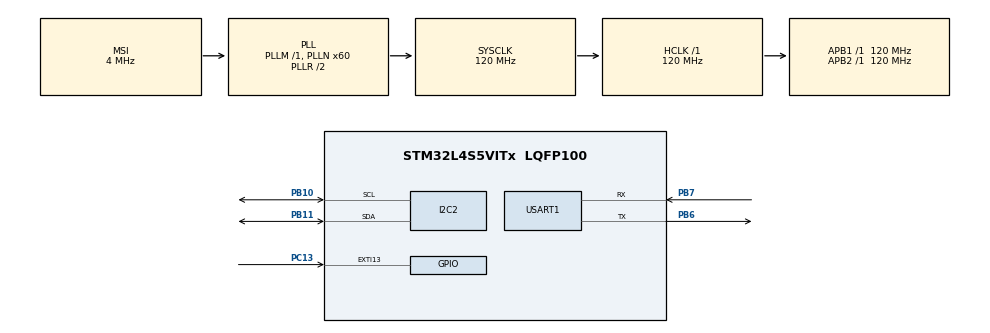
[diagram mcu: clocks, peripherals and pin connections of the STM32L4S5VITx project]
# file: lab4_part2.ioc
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FREERTOS.Mutexes01=curSensorMutex,Dynamic,NULL
FREERTOS.Tasks01=taskButton,0,128,StartButtonTask,Default,NULL,Dynamic,NULL,NULL;taskSensorRead,1,256,StartSensorRead,Default,NULL,Dynamic,NULL,NULL;taskSerialWrite,2,256,StartSerialWrite,Default,NULL,Dynamic,NULL,NULL
FREERTOS.configENABLE_FPU=1
I2C2.Timing=0x307075B1
Mcu.Family=STM32L4
Mcu.Name=STM32L4S5VITx
Mcu.Package=LQFP100
NVIC.EXTI15_10_IRQn=true\:5\:0\:false\:false\:true\:true\:true\:true\:true
NVIC.PriorityGroup=NVIC_PRIORITYGROUP_4
NVIC.TIM1_TRG_COM_TIM17_IRQn=true\:15\:0\:false\:false\:true\:false\:false\:true\:true
NVIC.TimeBase=TIM1_TRG_COM_TIM17_IRQn
NVIC.TimeBaseIP=TIM17
PA13\ (JTMS/SWDIO).Mode=Trace_Asynchronous_SW
PA13\ (JTMS/SWDIO).Signal=SYS_JTMS-SWDIO
PA14\ (JTCK/SWCLK).Mode=Trace_Asynchronous_SW
PA14\ (JTCK/SWCLK).Signal=SYS_JTCK-SWCLK
PB10.Mode=I2C
PB10.Signal=I2C2_SCL
PB11.Mode=I2C
PB11.Signal=I2C2_SDA
PB3\ (JTDO/TRACESWO).Mode=Trace_Asynchronous_SW
PB3\ (JTDO/TRACESWO).Signal=SYS_JTDO-SWO
PB6.Mode=Asynchronous
PB6.Signal=USART1_TX
PB7.Mode=Asynchronous
PB7.Signal=USART1_RX
PC13.Signal=GPXTI13
ProjectManager.HeapSize=0x200
ProjectManager.StackSize=0x400
ProjectManager.TargetToolchain=STM32CubeIDE
RCC.ADCFreq_Value=48000000
RCC.AHBFreq_Value=120000000
RCC.APB1Freq_Value=120000000
RCC.APB1TimFreq_Value=120000000
RCC.APB2Freq_Value=120000000
RCC.APB2TimFreq_Value=120000000
RCC.CortexFreq_Value=120000000
RCC.HCLKFreq_Value=120000000
RCC.HSE_VALUE=8000000
RCC.HSI48_VALUE=48000000
RCC.HSI_VALUE=16000000
RCC.LSE_VALUE=32768
RCC.MSI_VALUE=4000000
RCC.PLLN=60
RCC.PLLSAI1N=24
RCC.SYSCLKFreq_VALUE=120000000
RCC.SYSCLKSource=RCC_SYSCLKSOURCE_PLLCLK
RCC.USBFreq_Value=48000000
RCC.VCOOutputFreq_Value=240000000
USART1.VirtualMode-Asynchronous=VM_ASYNC
VP_FREERTOS_VS_CMSIS_V1.Mode=CMSIS_V1
VP_SYS_VS_tim17.Mode=TIM17
board=B-L4S5I-IOT01A

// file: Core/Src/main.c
/* USER CODE BEGIN Header */
/**
  ******************************************************************************
  * @file           : main.c
  * @brief          : Main program body
  ******************************************************************************
  * @attention
  *
  * Copyright (c) 2022 STMicroelectronics.
  * All rights reserved.
  *
  * This software is licensed under terms that can be found in the LICENSE file
  * in the root directory of this software component.
  * If no LICENSE file comes with this software, it is provided AS-IS.
  *
  ******************************************************************************
  */
/* USER CODE END Header */
#include "main.h"
#include "cmsis_os.h"

/* USER CODE BEGIN Includes */
#include "stm32l4s5i_iot01.h"
#include "stm32l4s5i_iot01_tsensor.h"
#include "stm32l4s5i_iot01_psensor.h"
#include "stm32l4s5i_iot01_hsensor.h"
#include "stm32l4s5i_iot01_magneto.h"
/* USER CODE END Includes */

/* USER CODE BEGIN PTD */
union sensor_data {
	float rd0;
	int16_t rd1[3];
};

typedef struct {
	int sensor_type;
	union sensor_data data;
} sensor_reading;
/* USER CODE END PTD */

/* USER CODE BEGIN PD */
#define BUTTON_PRESS_SIGNAL 0x00000001
#define ITM_Port32(n) (*((volatile unsigned long *)(0xE0000000+4*n)))
/* USER CODE END PD */

 I2C_HandleTypeDef hi2c2;

UART_HandleTypeDef huart1;

osThreadId taskButtonHandle;
osThreadId taskSensorReadHandle;
osThreadId taskSerialWriteHandle;
osMutexId curSensorMutexHandle;
/* USER CODE BEGIN PV */
int cur_sensor = 0;

osMailQDef (sensorQ, 3, sensor_reading);
osMailQId sensorQ;
/* USER CODE END PV */

void SystemClock_Config(void);
static void MX_GPIO_Init(void);
static void MX_I2C2_Init(void);
static void MX_USART1_UART_Init(void);
void StartButtonTask(void const * argument);
void StartSensorRead(void const * argument);
void StartSerialWrite(void const * argument);

int main(void)
{

  /* MCU Configuration--------------------------------------------------------*/

  /* Reset of all peripherals, Initializes the Flash interface and the Systick. */
  HAL_Init();

  /* Configure the system clock */
  SystemClock_Config();

  /* Initialize all configured peripherals */
  MX_GPIO_Init();
  MX_I2C2_Init();
  MX_USART1_UART_Init();
  /* USER CODE BEGIN 2 */
  cur_sensor = 0;
  char uart_buffer[100];
    memset(uart_buffer, 0, 100);

    uint32_t temp_status = BSP_TSENSOR_Init();

    if (temp_status == 0) {
  	  strcpy(uart_buffer, "The temperature sensor is successfully initialised.\r\n");
    } else {
  	  strcpy(uart_buffer, "Initialisation for the temperature sensor failed.\r\n");
    }
    HAL_UART_Transmit(&huart1, (uint8_t*) uart_buffer, 100, 20);

    uint32_t humid_status = BSP_HSENSOR_Init();
    memset(uart_buffer, 0, 100);
    if (humid_status == 0) {
  	  strcpy(uart_buffer, "The humidity sensor is successfully initialised.\r\n");
    } else {
  	  strcpy(uart_buffer, "Initialisation for the humidity sensor failed.\r\n");
    }
    HAL_UART_Transmit(&huart1, (uint8_t*) uart_buffer, 100, 20);

    uint32_t pres_status = BSP_PSENSOR_Init();
    memset(uart_buffer, 0, 100);
    if (pres_status == 0) {
  	  strcpy(uart_buffer, "The pressure sensor is successfully initialised.\r\n");
    } else {
  	  strcpy(uart_buffer, "Initialisation for the pressure sensor failed.\r\n");
    }
    HAL_UART_Transmit(&huart1, (uint8_t*) uart_buffer, 100, 20);

    MAGNETO_StatusTypeDef mag_status = BSP_MAGNETO_Init();
    memset(uart_buffer, 0, 100);
    if (mag_status == MAGNETO_OK) {
  	  strcpy(uart_buffer, "The magneto sensor is successfully initialised.\r\n");
    } else {
  	  strcpy(uart_buffer, "Initialisation for the magneto sensor failed.\r\n");
    }
    HAL_UART_Transmit(&huart1, (uint8_t*) uart_buffer, 100, 20);
  /* USER CODE END 2 */

  /* Create the mutex(es) */
  /* definition and creation of curSensorMutex */
  osMutexDef(curSensorMutex);
  curSensorMutexHandle = osMutexCreate(osMutex(curSensorMutex));

  /* USER CODE BEGIN RTOS_QUEUES */
  /* add queues, ... */
  osMailQDef(sensorQ, 2, sensor_reading);
  sensorQ = osMailCreate(osMailQ(sensorQ), NULL);
  /* USER CODE END RTOS_QUEUES */

  /* Create the thread(s) */
  /* definition and creation of taskButton */
  osThreadDef(taskButton, StartButtonTask, osPriorityNormal, 0, 128);
  taskButtonHandle = osThreadCreate(osThread(taskButton), NULL);

  /* definition and creation of taskSensorRead */
  osThreadDef(taskSensorRead, StartSensorRead, osPriorityAboveNormal, 0, 128);
  taskSensorReadHandle = osThreadCreate(osThread(taskSensorRead), NULL);

  /* definition and creation of taskSerialWrite */
  osThreadDef(taskSerialWrite, StartSerialWrite, osPriorityHigh, 0, 256);
  taskSerialWriteHandle = osThreadCreate(osThread(taskSerialWrite), NULL);

  /* Start scheduler */
  osKernelStart();

  /* We should never get here as control is now taken by the scheduler */
  /* Infinite loop */
  while (1)
  {

  }
}

void SystemClock_Config(void)
{
  RCC_OscInitTypeDef RCC_OscInitStruct = {0};
  RCC_ClkInitTypeDef RCC_ClkInitStruct = {0};

  /** Configure the main internal regulator output voltage
  */
  if (HAL_PWREx_ControlVoltageScaling(PWR_REGULATOR_VOLTAGE_SCALE1_BOOST) != HAL_OK)
  {
    Error_Handler();
  }

  /** Initializes the RCC Oscillators according to the specified parameters
  * in the RCC_OscInitTypeDef structure.
  */
  RCC_OscInitStruct.OscillatorType = RCC_OSCILLATORTYPE_MSI;
  RCC_OscInitStruct.MSIState = RCC_MSI_ON;
  RCC_OscInitStruct.MSICalibrationValue = 0;
  RCC_OscInitStruct.MSIClockRange = RCC_MSIRANGE_6;
  RCC_OscInitStruct.PLL.PLLState = RCC_PLL_ON;
  RCC_OscInitStruct.PLL.PLLSource = RCC_PLLSOURCE_MSI;
  RCC_OscInitStruct.PLL.PLLM = 1;
  RCC_OscInitStruct.PLL.PLLN = 60;
  RCC_OscInitStruct.PLL.PLLP = RCC_PLLP_DIV2;
  RCC_OscInitStruct.PLL.PLLQ = RCC_PLLQ_DIV2;
  RCC_OscInitStruct.PLL.PLLR = RCC_PLLR_DIV2;
  if (HAL_RCC_OscConfig(&RCC_OscInitStruct) != HAL_OK)
  {
    Error_Handler();
  }

  /** Initializes the CPU, AHB and APB buses clocks
  */
  RCC_ClkInitStruct.ClockType = RCC_CLOCKTYPE_HCLK|RCC_CLOCKTYPE_SYSCLK
                              |RCC_CLOCKTYPE_PCLK1|RCC_CLOCKTYPE_PCLK2;
  RCC_ClkInitStruct.SYSCLKSource = RCC_SYSCLKSOURCE_PLLCLK;
  RCC_ClkInitStruct.AHBCLKDivider = RCC_SYSCLK_DIV1;
  RCC_ClkInitStruct.APB1CLKDivider = RCC_HCLK_DIV1;
  RCC_ClkInitStruct.APB2CLKDivider = RCC_HCLK_DIV1;

  if (HAL_RCC_ClockConfig(&RCC_ClkInitStruct, FLASH_LATENCY_5) != HAL_OK)
  {
    Error_Handler();
  }
}

static void MX_I2C2_Init(void)
{

  hi2c2.Instance = I2C2;
  hi2c2.Init.Timing = 0x307075B1;
  hi2c2.Init.OwnAddress1 = 0;
  hi2c2.Init.AddressingMode = I2C_ADDRESSINGMODE_7BIT;
  hi2c2.Init.DualAddressMode = I2C_DUALADDRESS_DISABLE;
  hi2c2.Init.OwnAddress2 = 0;
  hi2c2.Init.OwnAddress2Masks = I2C_OA2_NOMASK;
  hi2c2.Init.GeneralCallMode = I2C_GENERALCALL_DISABLE;
  hi2c2.Init.NoStretchMode = I2C_NOSTRETCH_DISABLE;
  if (HAL_I2C_Init(&hi2c2) != HAL_OK)
  {
    Error_Handler();
  }

  /** Configure Analogue filter
  */
  if (HAL_I2CEx_ConfigAnalogFilter(&hi2c2, I2C_ANALOGFILTER_ENABLE) != HAL_OK)
  {
    Error_Handler();
  }

  /** Configure Digital filter
  */
  if (HAL_I2CEx_ConfigDigitalFilter(&hi2c2, 0) != HAL_OK)
  {
    Error_Handler();
  }

}

static void MX_USART1_UART_Init(void)
{

  huart1.Instance = USART1;
  huart1.Init.BaudRate = 115200;
  huart1.Init.WordLength = UART_WORDLENGTH_8B;
  huart1.Init.StopBits = UART_STOPBITS_1;
  huart1.Init.Parity = UART_PARITY_NONE;
  huart1.Init.Mode = UART_MODE_TX_RX;
  huart1.Init.HwFlowCtl = UART_HWCONTROL_NONE;
  huart1.Init.OverSampling = UART_OVERSAMPLING_16;
  huart1.Init.OneBitSampling = UART_ONE_BIT_SAMPLE_DISABLE;
  huart1.Init.ClockPrescaler = UART_PRESCALER_DIV1;
  huart1.AdvancedInit.AdvFeatureInit = UART_ADVFEATURE_NO_INIT;
  if (HAL_UART_Init(&huart1) != HAL_OK)
  {
    Error_Handler();
  }
  if (HAL_UARTEx_SetTxFifoThreshold(&huart1, UART_TXFIFO_THRESHOLD_1_8) != HAL_OK)
  {
    Error_Handler();
  }
  if (HAL_UARTEx_SetRxFifoThreshold(&huart1, UART_RXFIFO_THRESHOLD_1_8) != HAL_OK)
  {
    Error_Handler();
  }
  if (HAL_UARTEx_DisableFifoMode(&huart1) != HAL_OK)
  {
    Error_Handler();
  }

}

static void MX_GPIO_Init(void)
{
  GPIO_InitTypeDef GPIO_InitStruct = {0};

  /* GPIO Ports Clock Enable */
  __HAL_RCC_GPIOC_CLK_ENABLE();
  __HAL_RCC_GPIOB_CLK_ENABLE();
  __HAL_RCC_GPIOA_CLK_ENABLE();

  /*Configure GPIO pin : PC13 */
  GPIO_InitStruct.Pin = GPIO_PIN_13;
  GPIO_InitStruct.Mode = GPIO_MODE_IT_RISING;
  GPIO_InitStruct.Pull = GPIO_NOPULL;
  HAL_GPIO_Init(GPIOC, &GPIO_InitStruct);

  /* EXTI interrupt init*/
  HAL_NVIC_SetPriority(EXTI15_10_IRQn, 5, 0);
  HAL_NVIC_EnableIRQ(EXTI15_10_IRQn);

}

/* USER CODE BEGIN 4 */
void HAL_GPIO_EXTI_Callback(uint16_t GPIO_Pin) {
	if (GPIO_Pin == GPIO_PIN_13) {
		// set signal if button is pressed
		osSignalSet(taskButtonHandle, BUTTON_PRESS_SIGNAL);
	}
}
/* USER CODE END 4 */

void StartButtonTask(void const * argument)
{
  /* USER CODE BEGIN 5 */
  /* Infinite loop */
  for(;;)
  {
	  osDelay(100);
	  osEvent event = osSignalWait(BUTTON_PRESS_SIGNAL, osWaitForever);
	  if (event.status == osEventSignal) {
		  // button is pressed, change sensor
		  osStatus m_status = osMutexWait(curSensorMutexHandle, osWaitForever);
		  if (m_status == osOK){
			  cur_sensor++;
			  if (cur_sensor >= 4) {
				  cur_sensor = 0;
			  }

		  }
		  osMutexRelease(curSensorMutexHandle);
	  }
  }
  /* USER CODE END 5 */
}

void StartSensorRead(void const * argument)
{
  /* USER CODE BEGIN StartSensorRead */
	sensor_reading *reading_ptr;
	osStatus m_status;
  /* Infinite loop */
  for(;;)
  {
	  osDelay(100);

	  reading_ptr = osMailAlloc(sensorQ, osWaitForever);
	  ITM_Port32(0) = (uint32_t) reading_ptr;
	  if (reading_ptr != NULL) {
		  memset(reading_ptr, 0, sizeof(sensor_reading));
		  m_status = osMutexWait(curSensorMutexHandle, 50);
		  if (m_status == osOK) {
			  reading_ptr->sensor_type = (int)cur_sensor;

			  switch (reading_ptr->sensor_type) {
			  case 0: {
				  // temp
				  reading_ptr->data.rd0 = BSP_TSENSOR_ReadTemp();
			  } break;

			  case 1: {
				  // humidity
				  reading_ptr->data.rd0 = BSP_HSENSOR_ReadHumidity();
			  } break;

			  case 2: {
				  // pressure
				  reading_ptr->data.rd0 = BSP_PSENSOR_ReadPressure();
			  } break;

			  case 3: {
				  // magneto
				  BSP_MAGNETO_GetXYZ(reading_ptr->data.rd1);
			  } break;

			  default: {
				  cur_sensor = 0;
			  }
			  }
			  osMailPut(sensorQ, reading_ptr);
		  }
		  osMutexRelease(curSensorMutexHandle);
	  }
  }
  /* USER CODE END StartSensorRead */
}

void StartSerialWrite(void const * argument)
{
  /* USER CODE BEGIN StartSerialWrite */
	sensor_reading *reading_ptr;
	osEvent evt;
	char str_buffer[64];
  /* Infinite loop */
  for(;;)
  {
	  // osDelay(10);
	  evt = osMailGet(sensorQ, osWaitForever);
	  ITM_Port32(6) = 4;
	  if (evt.status == osEventMail) {
		  reading_ptr = evt.value.p;
		  ITM_Port32(1) = (uint32_t) reading_ptr;
		  memset(str_buffer, 0, 64);
		  switch (reading_ptr->sensor_type) {
		  case 0: {
			  // temp
			  sprintf(str_buffer, "Temperature: %f \r\n", (reading_ptr->data.rd0));
		  } break;

		  case 1: {
			  // humidity
			  sprintf(str_buffer, "Humidity: %f \r\n", (reading_ptr->data.rd0));
		  } break;

		  case 2: {
			  // pressure
			  sprintf(str_buffer, "Pressure: %f \r\n", (reading_ptr->data.rd0));
		  } break;

		  case 3: {
			  // magneto
			  sprintf(str_buffer, "Magneto: X=%d\tY=%d\tZ=%d \r\n", (int)(reading_ptr->data.rd1[0]), (int)(reading_ptr->data.rd1[1]), (int)(reading_ptr->data.rd1[2]));
		  } break;
		  }
		  HAL_UART_Transmit(&huart1, (uint8_t*) str_buffer, 64, 100);
		  osMailFree(sensorQ, reading_ptr);
	  }
  }
  /* USER CODE END StartSerialWrite */
}

void HAL_TIM_PeriodElapsedCallback(TIM_HandleTypeDef *htim)
{
  if (htim->Instance == TIM17) {
    HAL_IncTick();
  }
}

void Error_Handler(void)
{
  __disable_irq();
  while (1)
  {
  }
}
